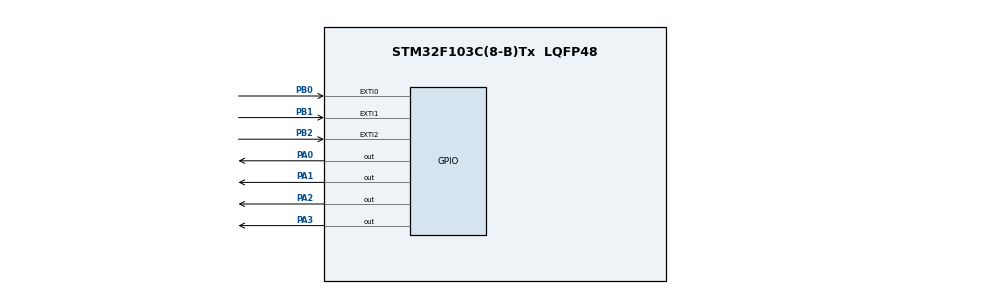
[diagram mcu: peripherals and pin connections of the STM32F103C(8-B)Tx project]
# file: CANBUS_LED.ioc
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Mcu.Family=STM32F1
Mcu.Name=STM32F103C(8-B)Tx
Mcu.Package=LQFP48
NVIC.EXTI0_IRQn=true\:0\:0\:false\:false\:true\:true\:true\:true
NVIC.EXTI1_IRQn=true\:0\:0\:false\:false\:true\:true\:true\:true
NVIC.EXTI2_IRQn=true\:0\:0\:false\:false\:true\:true\:true\:true
NVIC.PriorityGroup=NVIC_PRIORITYGROUP_4
PA0-WKUP.Signal=GPIO_Output
PA1.Signal=GPIO_Output
PA13.Mode=Serial_Wire
PA13.Signal=SYS_JTMS-SWDIO
PA14.Mode=Serial_Wire
PA14.Signal=SYS_JTCK-SWCLK
PA2.Signal=GPIO_Output
PA3.Signal=GPIO_Output
PB0.GPIO_PuPd=GPIO_PULLUP
PB0.Signal=GPXTI0
PB1.GPIO_PuPd=GPIO_PULLUP
PB1.Signal=GPXTI1
PB2.GPIO_PuPd=GPIO_PULLUP
PB2.Signal=GPXTI2
ProjectManager.HeapSize=0x200
ProjectManager.StackSize=0x400
ProjectManager.TargetToolchain=STM32CubeIDE
RCC.APB1Freq_Value=8000000
RCC.APB2Freq_Value=8000000
board=custom

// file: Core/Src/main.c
/* USER CODE BEGIN Header */
/**
  ******************************************************************************
  * @file           : main.c
  * @brief          : Main program body
  ******************************************************************************
  * @attention
  *
  * Copyright (c) 2025 STMicroelectronics.
  * All rights reserved.
  *
  * This software is licensed under terms that can be found in the LICENSE file
  * in the root directory of this software component.
  * If no LICENSE file comes with this software, it is provided AS-IS.
  *
  ******************************************************************************
  */
/* USER CODE END Header */
#include "main.h"

/* USER CODE BEGIN Includes */
volatile uint8_t hazard_mode = 0;
volatile uint8_t left_mode = 0;
volatile uint8_t right_mode = 0;
/* USER CODE END Includes */

void SystemClock_Config(void);
static void MX_GPIO_Init(void);
void toggle_left_leds(void);
void toggle_right_leds(void);
void toggle_all_leds(void);
void set_left_leds(GPIO_PinState state);
void set_right_leds(GPIO_PinState state);
/* USER CODE BEGIN PFP */
void toggle_left_leds(void) {
  HAL_GPIO_TogglePin(GPIOA, GPIO_PIN_0);
  HAL_GPIO_TogglePin(GPIOA, GPIO_PIN_1);
}

void toggle_right_leds(void) {
  HAL_GPIO_TogglePin(GPIOA, GPIO_PIN_2);
  HAL_GPIO_TogglePin(GPIOA, GPIO_PIN_3);
}

void toggle_all_leds(void) {
  toggle_left_leds();
  toggle_right_leds();
}

void set_left_leds(GPIO_PinState state) {
  HAL_GPIO_WritePin(GPIOA, GPIO_PIN_0, state);
  HAL_GPIO_WritePin(GPIOA, GPIO_PIN_1, state);
}

void set_right_leds(GPIO_PinState state) {
  HAL_GPIO_WritePin(GPIOA, GPIO_PIN_2, state);
  HAL_GPIO_WritePin(GPIOA, GPIO_PIN_3, state);
}

void HAL_GPIO_EXTI_Callback(uint16_t GPIO_Pin)
{
  if (GPIO_Pin == GPIO_PIN_2) { // Hazard
    hazard_mode ^= 1;
    if (hazard_mode) {
      left_mode = 0;
      right_mode = 0;
    }
  }
  else if (GPIO_Pin == GPIO_PIN_0 && !hazard_mode) { // Left
    left_mode ^= 1;
    right_mode = 0;
  }
  else if (GPIO_Pin == GPIO_PIN_1 && !hazard_mode) { // Right
    right_mode ^= 1;
    left_mode = 0;
  }
}
/* USER CODE END PFP */

int main(void)
{

  /* MCU Configuration--------------------------------------------------------*/

  /* Reset of all peripherals, Initializes the Flash interface and the Systick. */
  HAL_Init();

  /* Configure the system clock */
  SystemClock_Config();

  /* Initialize all configured peripherals */
  MX_GPIO_Init();

  /* Infinite loop */
  while (1)
  {

    /* USER CODE BEGIN 3 */
    if (hazard_mode) {
      toggle_all_leds();
      HAL_Delay(500); // 500ms delay for blinking
    }
    else if (left_mode) {
      toggle_left_leds();
      HAL_Delay(500);
    }
    else if (right_mode) {
      toggle_right_leds();
      HAL_Delay(500);
    }
    else {
      set_left_leds(GPIO_PIN_RESET);
      set_right_leds(GPIO_PIN_RESET);
    }
  }
  /* USER CODE END 3 */
}

void SystemClock_Config(void)
{
  RCC_OscInitTypeDef RCC_OscInitStruct = {0};
  RCC_ClkInitTypeDef RCC_ClkInitStruct = {0};

  /** Initializes the RCC Oscillators according to the specified parameters
  * in the RCC_OscInitTypeDef structure.
  */
  RCC_OscInitStruct.OscillatorType = RCC_OSCILLATORTYPE_HSI;
  RCC_OscInitStruct.HSIState = RCC_HSI_ON;
  RCC_OscInitStruct.HSICalibrationValue = RCC_HSICALIBRATION_DEFAULT;
  RCC_OscInitStruct.PLL.PLLState = RCC_PLL_NONE;
  if (HAL_RCC_OscConfig(&RCC_OscInitStruct) != HAL_OK)
  {
    Error_Handler();
  }

  /** Initializes the CPU, AHB and APB buses clocks
  */
  RCC_ClkInitStruct.ClockType = RCC_CLOCKTYPE_HCLK|RCC_CLOCKTYPE_SYSCLK
                              |RCC_CLOCKTYPE_PCLK1|RCC_CLOCKTYPE_PCLK2;
  RCC_ClkInitStruct.SYSCLKSource = RCC_SYSCLKSOURCE_HSI;
  RCC_ClkInitStruct.AHBCLKDivider = RCC_SYSCLK_DIV1;
  RCC_ClkInitStruct.APB1CLKDivider = RCC_HCLK_DIV1;
  RCC_ClkInitStruct.APB2CLKDivider = RCC_HCLK_DIV1;

  if (HAL_RCC_ClockConfig(&RCC_ClkInitStruct, FLASH_LATENCY_0) != HAL_OK)
  {
    Error_Handler();
  }
}

static void MX_GPIO_Init(void)
{
  GPIO_InitTypeDef GPIO_InitStruct = {0};

  /* GPIO Ports Clock Enable */
  __HAL_RCC_GPIOA_CLK_ENABLE();
  __HAL_RCC_GPIOB_CLK_ENABLE();

  /*Configure GPIO pin Output Level */
  HAL_GPIO_WritePin(GPIOA, GPIO_PIN_0|GPIO_PIN_1|GPIO_PIN_2|GPIO_PIN_3, GPIO_PIN_RESET);

  /*Configure GPIO pins : PA0 PA1 PA2 PA3 */
  GPIO_InitStruct.Pin = GPIO_PIN_0|GPIO_PIN_1|GPIO_PIN_2|GPIO_PIN_3;
  GPIO_InitStruct.Mode = GPIO_MODE_OUTPUT_PP;
  GPIO_InitStruct.Pull = GPIO_NOPULL;
  GPIO_InitStruct.Speed = GPIO_SPEED_FREQ_LOW;
  HAL_GPIO_Init(GPIOA, &GPIO_InitStruct);

  /*Configure GPIO pins : PB0 PB1 PB2 */
  GPIO_InitStruct.Pin = GPIO_PIN_0|GPIO_PIN_1|GPIO_PIN_2;
  GPIO_InitStruct.Mode = GPIO_MODE_IT_RISING;
  GPIO_InitStruct.Pull = GPIO_PULLUP;
  HAL_GPIO_Init(GPIOB, &GPIO_InitStruct);

  /* EXTI interrupt init*/
  HAL_NVIC_SetPriority(EXTI0_IRQn, 0, 0);
  HAL_NVIC_EnableIRQ(EXTI0_IRQn);

  HAL_NVIC_SetPriority(EXTI1_IRQn, 0, 0);
  HAL_NVIC_EnableIRQ(EXTI1_IRQn);

  HAL_NVIC_SetPriority(EXTI2_IRQn, 0, 0);
  HAL_NVIC_EnableIRQ(EXTI2_IRQn);

}

void Error_Handler(void)
{
  __disable_irq();
  while (1)
  {
  }
}
